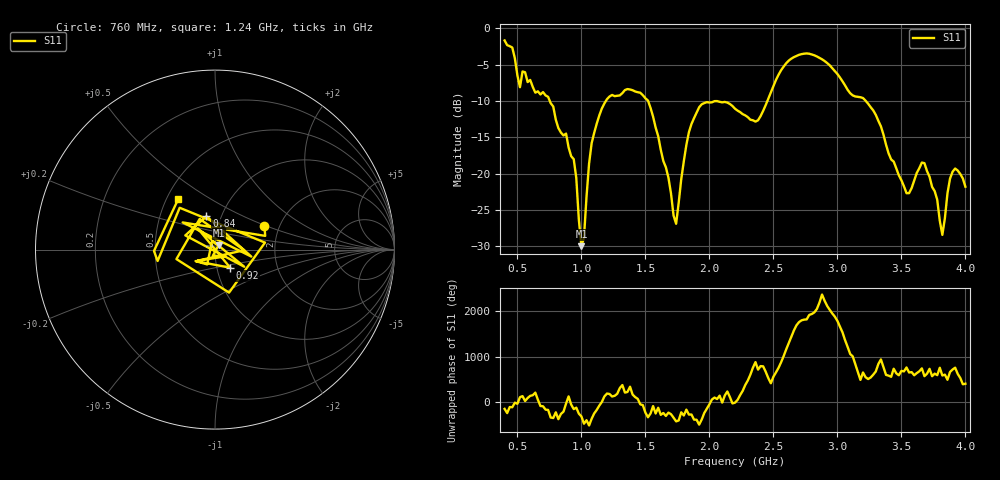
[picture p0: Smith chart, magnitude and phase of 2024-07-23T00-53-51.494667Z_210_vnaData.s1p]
!Created with skrf (http://scikit-rf.org).
# Hz S RI R 50.0
!freq ReS11 ImS11
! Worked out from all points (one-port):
!   181 points, 400 MHz to 4 GHz, reference 50 ohm
!   lowest |S11| = -30.0 dB at 1 GHz (marker M1), VSWR 1.07, Z = 52 + j2.56 ohm
!   |S11| at or under -10 dB: 753.3 MHz to 1.191 GHz (437.6 MHz wide, 45 % of centre); 1.521 GHz to 2.453 GHz (931.3 MHz wide, 46.9 % of centre); 3.223 GHz to end of sweep
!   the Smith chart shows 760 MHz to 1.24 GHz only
!   S11 on the Smith chart (normalised r, x): 760 MHz: 1.67, +0.49; 840 MHz: 0.85, +0.33; 920 MHz: 1.16, -0.24; 1.24 GHz: 0.57, +0.37
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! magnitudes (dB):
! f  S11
! 400 MHz  -1.7
! 520 MHz  -8.1
! 560 MHz  -6.0
! 760 MHz  -10.3
! 840 MHz  -14.3
! 860 MHz  -14.7
! 920 MHz  -17.6
! 960 MHz  -20.6
! 1 GHz  -30.0
! 1.02 GHz  -28.8
! 1.08 GHz  -15.8
! 1.24 GHz  -9.2
! 1.3 GHz  -9.2
! 1.52 GHz  -9.9
! 1.72 GHz  -25.8
! 1.76 GHz  -24.0
! 1.84 GHz  -14.3
! 1.92 GHz  -10.8
! 2.2 GHz  -11.1
! 2.38 GHz  -12.6
! 2.66 GHz  -4.0
! 3.1 GHz  -8.9
! 3.28 GHz  -11.3
! 3.56 GHz  -22.7
! 3.68 GHz  -18.5
! 3.82 GHz  -28.4
! 3.9 GHz  -19.7
! 4 GHz  -21.8
